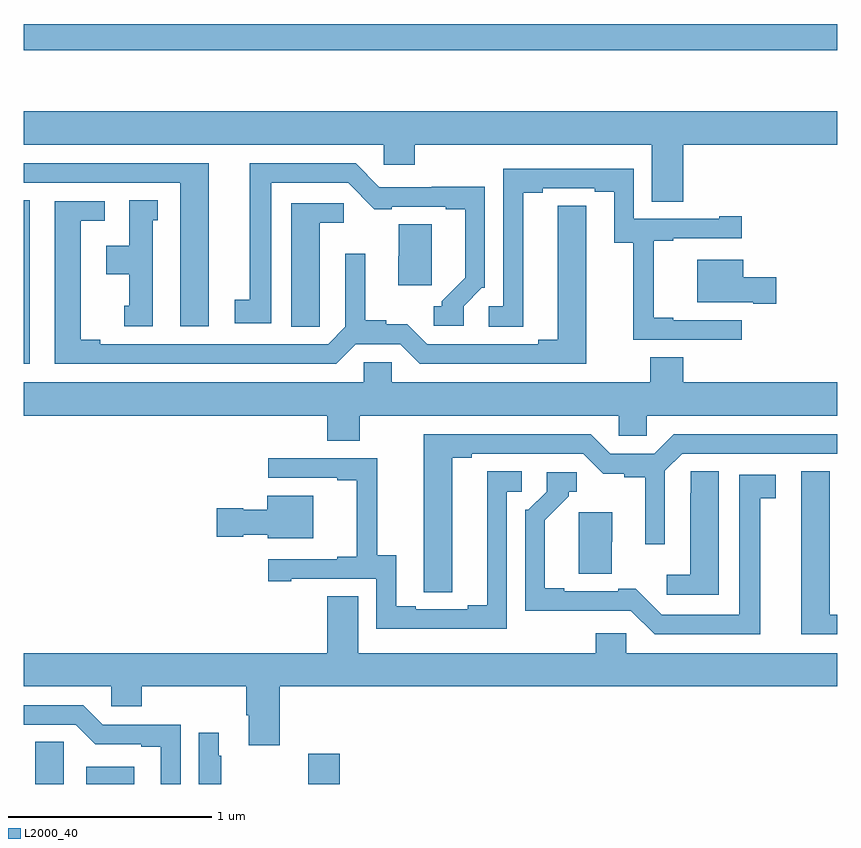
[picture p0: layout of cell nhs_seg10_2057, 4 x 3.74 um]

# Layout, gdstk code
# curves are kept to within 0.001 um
import gdstk
lib = gdstk.Library(unit=1e-6, precision=1e-09)
def R(c, l, rs):  # rectangles x0, y0, x1, y1
    for r in rs: c.add(gdstk.rectangle(r[:2], r[2:], *l))
def P(c, l, *ps):  # polygons
    for p in ps: c.add(gdstk.Polygon(p, *l))
L2000_40 = (2000, 40)

nhs_seg10_2057 = lib.new_cell('nhs_seg10_2057')
R(nhs_seg10_2057, L2000_40, [(219.308,1302.5,219.544,1302.586), (220.399,1302.5,220.553,1302.649), (219,1304.568,219.028,1305.371), (219,1306.11,223,1306.238)])
P(nhs_seg10_2057, L2000_40, [(222.242,1305.644),(223,1305.644),(223,1305.808),(219,1305.808),(219,1305.644),(220.77,1305.644),(220.77,1305.546),(220.922,1305.546),(220.922,1305.644),(222.089,1305.644),(222.089,1305.364),(222.242,1305.364)],
  [(219.91,1305.552),(219,1305.552),(219,1305.456),(219.77,1305.456),(219.77,1304.751),(219.91,1304.751)],
  [(221.163,1304.85),(221.253,1304.94),(221.268,1304.94),(221.268,1305.437),(221.005,1305.437),(221.005,1305.435),(220.749,1305.435),(220.632,1305.552),(220.112,1305.552),(220.112,1304.882),(220.038,1304.882),(220.038,1304.766),(220.216,1304.766),(220.216,1305.456),(220.596,1305.456),(220.724,1305.328),(220.81,1305.328),(220.81,1305.339),(221.075,1305.339),(221.075,1305.327),(221.171,1305.327),(221.171,1304.99),(221.055,1304.874),(221.055,1304.85),(221.016,1304.85),(221.016,1304.754),(221.163,1304.754)],
  [(222.532,1304.781),(222.193,1304.781),(222.193,1304.794),(222.098,1304.794),(222.098,1305.171),(222.193,1305.171),(222.193,1305.183),(222.532,1305.183),(222.532,1305.292),(222.419,1305.292),(222.419,1305.279),(222,1305.279),(222,1305.525),(221.358,1305.525),(221.358,1304.85),(221.286,1304.85),(221.286,1304.749),(221.455,1304.749),(221.455,1305.409),(221.551,1305.409),(221.551,1305.429),(221.807,1305.429),(221.807,1305.414),(221.903,1305.414),(221.903,1305.163),(221.998,1305.163),(221.998,1304.685),(222.532,1304.685)],
  [(219.634,1305.273),(219.658,1305.273),(219.658,1305.371),(219.518,1305.371),(219.518,1305.148),(219.404,1305.148),(219.404,1305.008),(219.518,1305.008),(219.518,1304.853),(219.494,1304.853),(219.494,1304.751),(219.634,1304.751)],
  [(220.633,1304.664),(220.851,1304.664),(220.947,1304.568),(221.767,1304.568),(221.766,1305.344),(221.627,1305.344),(221.627,1304.684),(221.531,1304.684),(221.531,1304.664),(220.983,1304.664),(220.886,1304.762),(220.782,1304.762),(220.782,1304.78),(220.678,1304.78),(220.678,1305.109),(220.581,1305.109),(220.581,1304.748),(220.497,1304.664),(219.376,1304.664),(219.376,1304.684),(219.28,1304.684),(219.28,1305.27),(219.397,1305.27),(219.397,1305.366),(219.152,1305.366),(219.152,1304.568),(220.537,1304.568)],
  [(220.455,1304.857),(220.456,1304.857),(220.456,1305.26),(220.573,1305.26),(220.573,1305.357),(220.316,1305.357),(220.316,1304.749),(220.455,1304.749)],
  [(221.005,1305.254),(220.843,1305.254),(220.843,1305.096),(220.841,1305.096),(220.841,1304.952),(221.005,1304.952)],
  [(222.7,1304.992),(222.538,1304.992),(222.538,1305.079),(222.311,1305.079),(222.311,1304.87),(222.587,1304.87),(222.587,1304.863),(222.7,1304.863)],
  [(220.653,1304.312),(221.925,1304.312),(221.925,1304.214),(222.063,1304.214),(222.063,1304.312),(223,1304.312),(223,1304.476),(222.242,1304.476),(222.242,1304.6),(222.082,1304.6),(222.082,1304.476),(220.809,1304.476),(220.809,1304.574),(220.671,1304.574),(220.671,1304.476),(219,1304.476),(219,1304.312),(220.493,1304.312),(220.493,1304.188),(220.653,1304.188)],
  [(221.107,1304.104),(221.203,1304.104),(221.203,1304.124),(221.751,1304.124),(221.849,1304.027),(221.952,1304.027),(221.952,1304.008),(222.056,1304.008),(222.056,1303.68),(222.153,1303.68),(222.153,1304.04),(222.237,1304.124),(223,1304.124),(223,1304.22),(222.197,1304.22),(222.101,1304.124),(221.883,1304.124),(221.787,1304.22),(220.967,1304.22),(220.968,1303.444),(221.107,1303.444)],
  [(221.376,1303.938),(221.449,1303.938),(221.449,1304.039),(221.279,1304.039),(221.279,1303.379),(221.183,1303.379),(221.183,1303.359),(220.927,1303.359),(220.927,1303.374),(220.831,1303.374),(220.831,1303.625),(220.737,1303.625),(220.737,1304.103),(220.203,1304.103),(220.203,1304.007),(220.541,1304.007),(220.541,1303.995),(220.637,1303.995),(220.637,1303.618),(220.541,1303.618),(220.541,1303.605),(220.203,1303.605),(220.203,1303.497),(220.315,1303.497),(220.315,1303.509),(220.734,1303.509),(220.734,1303.263),(221.376,1303.263)],
  [(222.418,1304.039),(222.279,1304.039),(222.279,1303.931),(222.278,1303.931),(222.278,1303.528),(222.162,1303.528),(222.162,1303.431),(222.418,1303.431)],
  [(223,1303.332),(222.964,1303.332),(222.964,1304.038),(222.824,1304.038),(222.824,1303.236),(223,1303.236)],
  [(222.622,1303.906),(222.697,1303.906),(222.697,1304.022),(222.518,1304.022),(222.518,1303.332),(222.138,1303.332),(222.01,1303.46),(221.924,1303.46),(221.924,1303.449),(221.659,1303.449),(221.659,1303.462),(221.563,1303.462),(221.563,1303.798),(221.68,1303.915),(221.68,1303.938),(221.719,1303.938),(221.719,1304.034),(221.571,1304.034),(221.571,1303.938),(221.481,1303.848),(221.466,1303.848),(221.466,1303.352),(221.985,1303.353),(222.102,1303.236),(222.622,1303.236)],
  [(220.423,1303.918),(220.196,1303.918),(220.196,1303.849),(220.08,1303.849),(220.08,1303.857),(219.948,1303.857),(219.948,1303.715),(220.08,1303.715),(220.08,1303.727),(220.2,1303.727),(220.2,1303.709),(220.423,1303.709)],
  [(221.892,1303.692),(221.893,1303.692),(221.893,1303.837),(221.729,1303.837),(221.729,1303.534),(221.892,1303.534)],
  [(220.259,1302.98),(223,1302.98),(223,1303.144),(221.964,1303.144),(221.964,1303.242),(221.813,1303.242),(221.813,1303.144),(220.645,1303.144),(220.645,1303.424),(220.493,1303.424),(220.493,1303.144),(219,1303.144),(219,1302.98),(219.429,1302.98),(219.429,1302.882),(219.581,1302.882),(219.581,1302.98),(220.094,1302.98),(220.094,1302.838),(220.106,1302.838),(220.106,1302.69),(220.259,1302.69)],
  [(219.771,1302.792),(219.387,1302.792),(219.291,1302.888),(219,1302.888),(219,1302.792),(219.255,1302.792),(219.351,1302.696),(219.578,1302.696),(219.578,1302.684),(219.674,1302.684),(219.674,1302.5),(219.771,1302.5)],
  [(219.97,1302.638),(219.958,1302.638),(219.958,1302.751),(219.861,1302.751),(219.861,1302.5),(219.97,1302.5)],
  [(219.196,1302.596),(219.195,1302.596),(219.195,1302.707),(219.056,1302.707),(219.056,1302.5),(219.196,1302.5)])

lib.write_gds('nhs_seg10_2057.gds')
